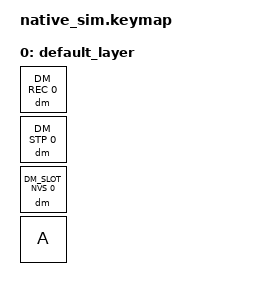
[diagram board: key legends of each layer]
/*
 * Copyright (c) 2026 The ZMK Contributors
 * SPDX-License-Identifier: MIT
 *
 * Test: Record more events than MAX_EVENTS allows.
 *
 * Sequence:
 * 1. Start recording
 * 2. Press many keys (exceeds MAX_EVENTS)
 * 3. Verify overflow feedback/truncation
 *
 * Expected: Recording stops or truncates at MAX_EVENTS, error feedback
 *
 * Note: Default MAX_EVENTS=64, so 32 key taps = 64 events (press+release)
 */

#include "../behavior_keymap.dtsi"

/ {
    keymap {
        compatible = "zmk,keymap";
        default_layer {
            bindings = <
                &dm DM_REC 0        /* 0,0 */
                &dm DM_STP 0        /* 0,1 */
                &dm DM_SLOT_NVS 0   /* 1,0 */
                &kp A               /* 1,1 */
            >;
        };
    };
};

&kscan {
    events = <
        /* Start recording */
        ZMK_MOCK_PRESS(0,0,10)
        ZMK_MOCK_RELEASE(0,0,10)

        /* Press A 35 times (70 events > 64 MAX_EVENTS default) */
        ZMK_MOCK_PRESS(1,1,10)   ZMK_MOCK_RELEASE(1,1,10)
        ZMK_MOCK_PRESS(1,1,10)   ZMK_MOCK_RELEASE(1,1,10)
        ZMK_MOCK_PRESS(1,1,10)   ZMK_MOCK_RELEASE(1,1,10)
        ZMK_MOCK_PRESS(1,1,10)   ZMK_MOCK_RELEASE(1,1,10)
        ZMK_MOCK_PRESS(1,1,10)   ZMK_MOCK_RELEASE(1,1,10)
        ZMK_MOCK_PRESS(1,1,10)   ZMK_MOCK_RELEASE(1,1,10)
        ZMK_MOCK_PRESS(1,1,10)   ZMK_MOCK_RELEASE(1,1,10)
        ZMK_MOCK_PRESS(1,1,10)   ZMK_MOCK_RELEASE(1,1,10)
        ZMK_MOCK_PRESS(1,1,10)   ZMK_MOCK_RELEASE(1,1,10)
        ZMK_MOCK_PRESS(1,1,10)   ZMK_MOCK_RELEASE(1,1,10)
        ZMK_MOCK_PRESS(1,1,10)   ZMK_MOCK_RELEASE(1,1,10)
        ZMK_MOCK_PRESS(1,1,10)   ZMK_MOCK_RELEASE(1,1,10)
        ZMK_MOCK_PRESS(1,1,10)   ZMK_MOCK_RELEASE(1,1,10)
        ZMK_MOCK_PRESS(1,1,10)   ZMK_MOCK_RELEASE(1,1,10)
        ZMK_MOCK_PRESS(1,1,10)   ZMK_MOCK_RELEASE(1,1,10)
        ZMK_MOCK_PRESS(1,1,10)   ZMK_MOCK_RELEASE(1,1,10)
        ZMK_MOCK_PRESS(1,1,10)   ZMK_MOCK_RELEASE(1,1,10)
        ZMK_MOCK_PRESS(1,1,10)   ZMK_MOCK_RELEASE(1,1,10)
        ZMK_MOCK_PRESS(1,1,10)   ZMK_MOCK_RELEASE(1,1,10)
        ZMK_MOCK_PRESS(1,1,10)   ZMK_MOCK_RELEASE(1,1,10)
        ZMK_MOCK_PRESS(1,1,10)   ZMK_MOCK_RELEASE(1,1,10)
        ZMK_MOCK_PRESS(1,1,10)   ZMK_MOCK_RELEASE(1,1,10)
        ZMK_MOCK_PRESS(1,1,10)   ZMK_MOCK_RELEASE(1,1,10)
        ZMK_MOCK_PRESS(1,1,10)   ZMK_MOCK_RELEASE(1,1,10)
        ZMK_MOCK_PRESS(1,1,10)   ZMK_MOCK_RELEASE(1,1,10)
        ZMK_MOCK_PRESS(1,1,10)   ZMK_MOCK_RELEASE(1,1,10)
        ZMK_MOCK_PRESS(1,1,10)   ZMK_MOCK_RELEASE(1,1,10)
        ZMK_MOCK_PRESS(1,1,10)   ZMK_MOCK_RELEASE(1,1,10)
        ZMK_MOCK_PRESS(1,1,10)   ZMK_MOCK_RELEASE(1,1,10)
        ZMK_MOCK_PRESS(1,1,10)   ZMK_MOCK_RELEASE(1,1,10)
        ZMK_MOCK_PRESS(1,1,10)   ZMK_MOCK_RELEASE(1,1,10)
        ZMK_MOCK_PRESS(1,1,10)   ZMK_MOCK_RELEASE(1,1,10)
        ZMK_MOCK_PRESS(1,1,10)   ZMK_MOCK_RELEASE(1,1,10)
        ZMK_MOCK_PRESS(1,1,10)   ZMK_MOCK_RELEASE(1,1,10)
        ZMK_MOCK_PRESS(1,1,10)   ZMK_MOCK_RELEASE(1,1,10)

        /* Stop recording */
        ZMK_MOCK_PRESS(0,1,10)
        ZMK_MOCK_RELEASE(0,1,10)
    >;
};
